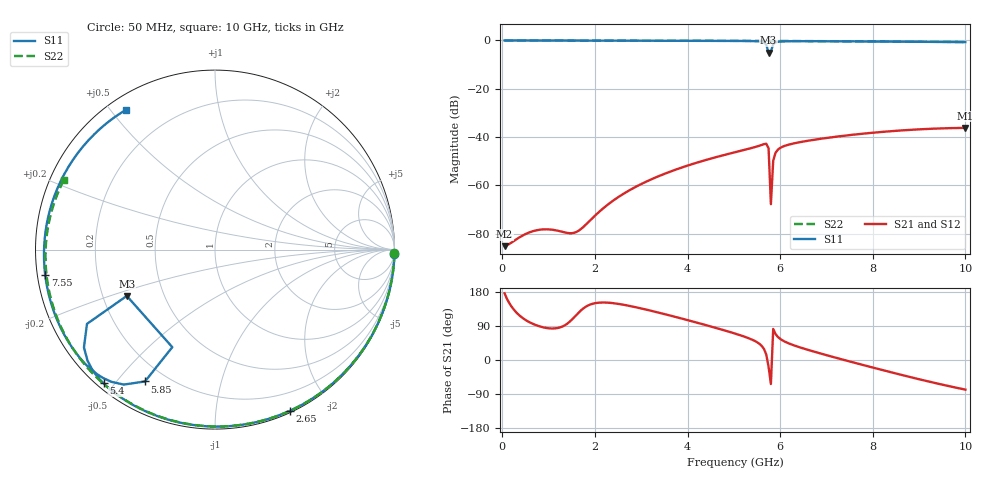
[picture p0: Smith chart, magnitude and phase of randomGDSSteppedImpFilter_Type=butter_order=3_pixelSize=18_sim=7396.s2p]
! freq	dB(S11)	phase(S11)	dB(S12)	phase(S12)
!  dB(S21)	phase(S21)	dB(S22)	phase(S22)
!S-par simulation data
#  GHz  S  DB  R 50
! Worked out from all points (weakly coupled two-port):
!   200 points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, 50 MHz to 10 GHz, reference 50 ohm
!   highest |S21| = -36.21 dB at 10 GHz (marker M1); lowest = -85.2 dB at 50 MHz (marker M2)
!   lowest |S11| = -5.1 dB at 5.75 GHz (marker M3), VSWR 3.50, Z = 15.1 - j11.3 ohm
!   |S11| at or under -10 dB: nowhere
!   |S22| runs from -0.7 to 0.0 dB; largest |S21 - S12| = 0
!   S11 on the Smith chart (normalised r, x): 50 MHz: 0, -90; 2.65 GHz: 0.02, -1.57; 5.4 GHz: 0.02, -0.47; 5.85 GHz: 0.12, -0.59; 7.55 GHz: 0.02, -0.07; 10 GHz: 0.05, +0.55
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0.05  -0.00 -1.3  -85.23 175.9  -85.23 175.9  -0.00 -1.1
0.95  -0.03 -23.9  -78.24 84.6  -78.24 84.6  -0.03 -20.8
1.5  -0.05 -37.5  -79.85 106.3  -79.85 106.3  -0.04 -32.6
1.75  -0.06 -43.5  -77.28 136.1  -77.28 136.1  -0.05 -37.9
2.2  -0.07 -54.4  -69.21 151.7  -69.21 151.7  -0.06 -47.3
2.65  -0.08 -65.0  -63.14 145.1  -63.14 145.1  -0.07 -56.6
3.4  -0.11 -82.3  -56.05 124.3  -56.05 124.3  -0.10 -71.8
4.25  -0.14 -101.6  -50.35 97.0  -50.35 97.0  -0.13 -88.5
5.05  -0.20 -120.1  -46.19 68.8  -46.19 68.8  -0.16 -103.9
5.4  -0.27 -129.8  -44.48 53.3  -44.48 53.3  -0.18 -110.5
5.6  -0.52 -139.0  -43.29 37.5  -43.29 37.5  -0.19 -114.3
5.7  -1.67 -149.9  -42.80 14.5  -42.80 14.5  -0.20 -116.2
5.75  -5.11 -152.3  -44.68 -17.9  -44.68 -17.9  -0.20 -117.1
5.8  -4.54 -113.6  -67.83 -63.4  -67.83 -63.4  -0.20 -118.0
5.85  -1.60 -118.0  -49.82 82.0  -49.82 82.0  -0.21 -119.0
5.9  -0.84 -124.1  -46.55 68.7  -46.55 68.7  -0.21 -119.9
6  -0.46 -131.0  -44.54 55.8  -44.54 55.8  -0.22 -121.8
6.7  -0.32 -151.6  -41.24 23.1  -41.24 23.1  -0.27 -135.0
7.55  -0.39 -171.6  -39.11 -5.5  -39.11 -5.5  -0.34 -151.4
8.35  -0.47 168.8  -37.65 -31.0  -37.65 -31.0  -0.43 -167.6
9.2  -0.58 146.3  -36.64 -56.6  -36.64 -56.6  -0.54 174.1
10  -0.69 122.5  -36.21 -78.1  -36.21 -78.1  -0.66 155.1
